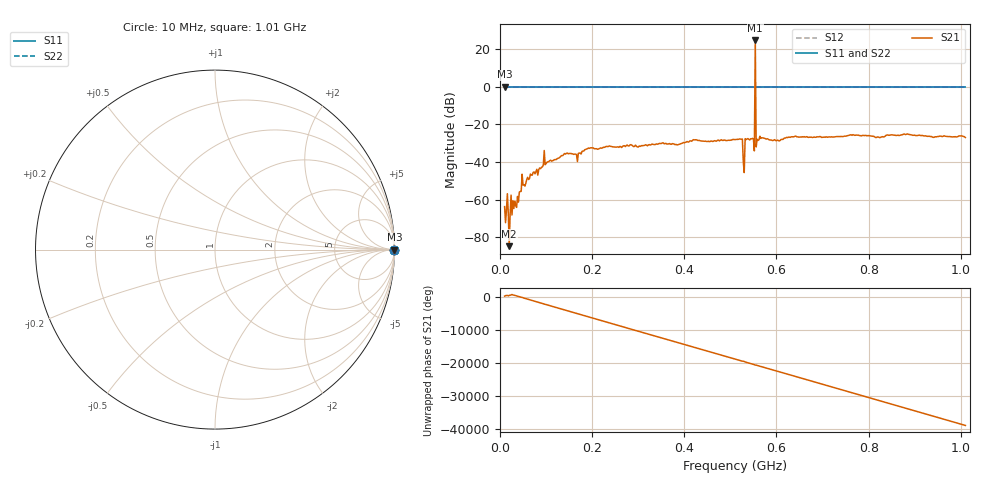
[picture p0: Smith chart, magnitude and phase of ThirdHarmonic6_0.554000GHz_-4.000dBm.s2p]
! 8/15/2025 5:34:15 PM
! C:\ANRITSUVNA\TEMP\TEMP.S2P
! CHANNEL.1
! TR.MEASUREMENT
! RAW.DATA
! RF.CORRECTION.OFF
! AVERAGING.OFF
! IF.BANDWIDTH: 5KHZ
! SWEEPTYPE:  FREQ.SWEEP(Linear)
! Reference Plane Port Info
! PORT:  PORT1  PORT2
! DISTANCE:  0  m  0  m
! TIME:  0  s  0  s
! PHASE.OFFSET:  0  deg.  0  deg.
! LOSS:  0  dB  0  dB
! REF.LOSS:  0  dB  0  dB
! REF.FREQ:  0  Hz  0  Hz
! Power Info
! POWER:  -20  dBm  -20  dBm
! EFF.POWER:  -20  dBm  -20  dBm
! SOURCE.ATTEN:  0  dB  0  dB
! TEST.ATTEN:  0  dB  0  dB
# GHZ S RI R 50.0
! FREQ.GHZ  S11RE  S11IM  S21RE  S21IM  S12RE  S12IM  S22RE  S22IM
!; PortSelection: Port_12
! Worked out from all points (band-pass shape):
!   501 points, 10 MHz to 1.01 GHz, reference 50 ohm
!   highest |S21| = 24.55 dB at 554 MHz (marker M1); lowest = -84.6 dB at 20 MHz (marker M2)
!   |S21| within 3 dB of the highest: 553.8977 MHz to 554.1062 MHz (208.5 kHz wide, 0.0376 % of centre)
!   lowest |S11| = 0.0 dB at 10 MHz (marker M3)
!   |S11| at or under -10 dB: nowhere
!   |S22| runs from 0.0 to 0.0 dB; largest |S21 - S12| = 17
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0.01  1 0  -0.000496 0.00043  1 0  1 0
0.014  1 0  0.000467 -0.000249  1 0  1 0
0.016  1 0  0.00143 -0.000245  1 0  1 0
0.02  1 0  5.67e-05 1.47e-05  1 0  1 0
0.022  1 0  0.000378 0.000166  1 0  1 0
0.052  1 0  -9.42e-05 -0.00248  1 0  1 0
0.098  1 0  -0.00839 -0.00138  1 0  1 0
0.178  1 0  -0.0189 -0.00361  1 0  1 0
0.344  1 0  0.0293 -0.00823  1 0  1 0
0.51  1 0  -0.0355 0.017  1 0  1 0
0.522  1 0  0.0353 0.0202  1 0  1 0
0.526  1 0  -0.0278 -0.03  1 0  1 0
0.532  1 0  0.0406 -0.00935  1 0  1 0
0.536  1 0  -0.0404 -0.00607  1 0  1 0
0.548  1 0  0.0175 0.0389  1 0  1 0
0.55  1 0  0.0395 -0.011  1 0  1 0
0.554  1 0  -8.583 14.53  1 0  1 0
0.558  1 0  0.0387 0.0116  1 0  1 0
0.56  1 0  0.0185 -0.0326  1 0  1 0
0.678  1 0  -0.0243 -0.0378  1 0  1 0
0.844  1 0  0.04 0.0321  1 0  1 0
1.01  1 0  -0.0441 -0.00789  1 0  1 0
